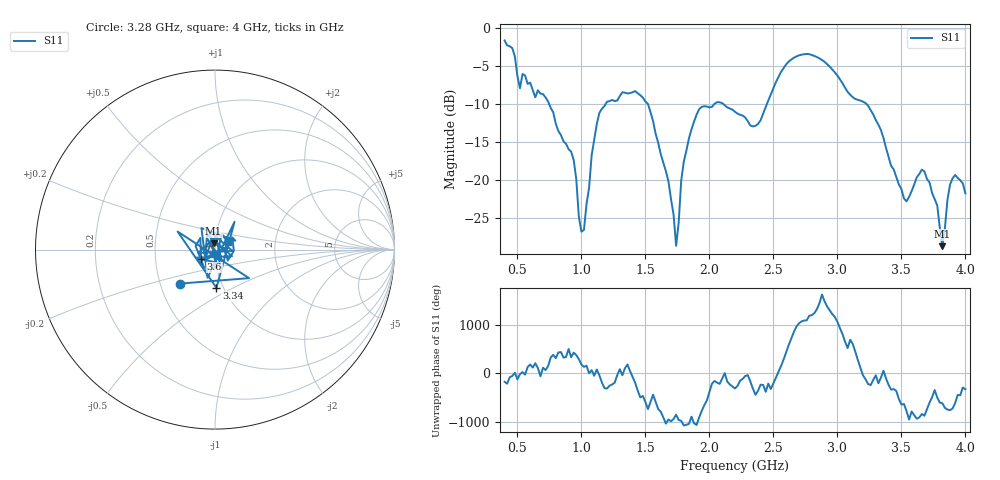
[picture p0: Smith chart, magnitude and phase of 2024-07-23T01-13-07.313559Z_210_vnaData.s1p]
!Created with skrf (http://scikit-rf.org).
# Hz S RI R 50.0
!freq ReS11 ImS11
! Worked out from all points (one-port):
!   181 points, 400 MHz to 4 GHz, reference 50 ohm
!   lowest |S11| = -28.7 dB at 3.82 GHz (marker M1), VSWR 1.08, Z = 49.1 + j3.54 ohm
!   |S11| at or under -10 dB: 747.4 MHz to 1.19 GHz (442.7 MHz wide, 45.7 % of centre); 1.52 GHz to 2.039 GHz (519.4 MHz wide, 29.2 % of centre); 3.226 GHz to end of sweep (the widest 3 of 4)
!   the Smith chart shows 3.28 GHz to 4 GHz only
!   S11 on the Smith chart (normalised r, x): 3.28 GHz: 0.64, -0.26; 3.34 GHz: 0.93, -0.41; 3.6 GHz: 0.85, -0.09; 4 GHz: 1.15, +0.10
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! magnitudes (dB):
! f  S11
! 400 MHz  -1.7
! 460 MHz  -2.7
! 520 MHz  -8.0
! 700 MHz  -8.7
! 860 MHz  -14.9
! 940 MHz  -17.4
! 980 MHz  -24.8
! 1.02 GHz  -26.5
! 1.14 GHz  -11.2
! 1.3 GHz  -9.0
! 1.52 GHz  -10.0
! 1.68 GHz  -20.2
! 1.74 GHz  -28.6
! 1.76 GHz  -25.6
! 1.8 GHz  -17.6
! 1.92 GHz  -10.7
! 2.2 GHz  -11.0
! 2.38 GHz  -12.6
! 2.66 GHz  -3.9
! 3.1 GHz  -8.8
! 3.28 GHz  -11.4
! 3.34 GHz  -13.4
! 3.56 GHz  -22.2
! 3.6 GHz  -20.6
! 3.72 GHz  -20.3
! 3.82 GHz  -28.7
! 3.9 GHz  -19.8
! 4 GHz  -21.7
